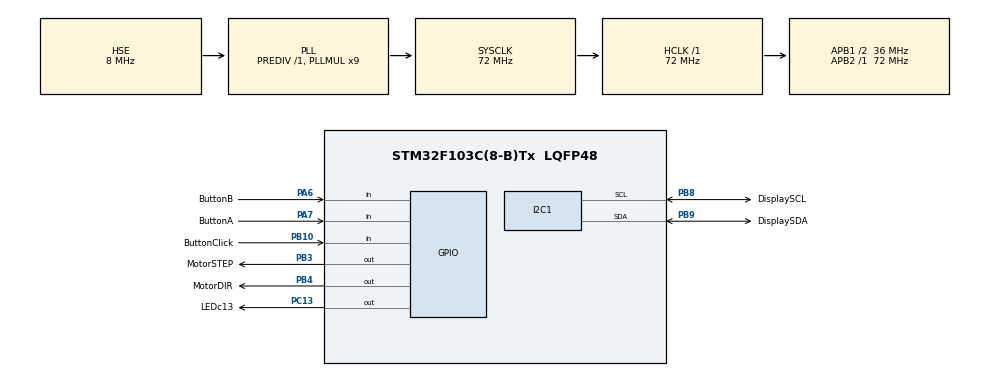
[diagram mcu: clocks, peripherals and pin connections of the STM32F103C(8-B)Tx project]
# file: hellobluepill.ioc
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Mcu.Family=STM32F1
Mcu.Name=STM32F103C(8-B)Tx
Mcu.Package=LQFP48
NVIC.PriorityGroup=NVIC_PRIORITYGROUP_4
NVIC.TIM4_IRQn=true\:0\:0\:false\:false\:true\:true\:true
PA13.Mode=Serial_Wire
PA13.Signal=SYS_JTMS-SWDIO
PA14.Mode=Serial_Wire
PA14.Signal=SYS_JTCK-SWCLK
PA6.GPIO_Label=ButtonB
PA6.Signal=GPIO_Input
PA7.GPIO_Label=ButtonA
PA7.Signal=GPIO_Input
PB10.GPIO_Label=ButtonClick
PB10.Signal=GPIO_Input
PB3.GPIO_Label=MotorSTEP
PB3.Signal=GPIO_Output
PB4.GPIO_Label=MotorDIR
PB4.Signal=GPIO_Output
PB8.GPIO_Label=DisplaySCL
PB8.GPIO_Pu=GPIO_PULLUP
PB8.Mode=I2C
PB8.Signal=I2C1_SCL
PB9.GPIO_Label=DisplaySDA
PB9.GPIO_Pu=GPIO_PULLUP
PB9.Mode=I2C
PB9.Signal=I2C1_SDA
PC13-TAMPER-RTC.GPIO_Label=LEDc13
PC13-TAMPER-RTC.Signal=GPIO_Output
PC14-OSC32_IN.Mode=LSE-External-Oscillator
PC14-OSC32_IN.Signal=RCC_OSC32_IN
PC15-OSC32_OUT.Mode=LSE-External-Oscillator
PC15-OSC32_OUT.Signal=RCC_OSC32_OUT
PD0-OSC_IN.Mode=HSE-External-Oscillator
PD0-OSC_IN.Signal=RCC_OSC_IN
PD1-OSC_OUT.Mode=HSE-External-Oscillator
PD1-OSC_OUT.Signal=RCC_OSC_OUT
ProjectManager.HeapSize=0x200
ProjectManager.StackSize=0x400
ProjectManager.TargetToolchain=Makefile
RCC.AHBFreq_Value=72000000
RCC.APB1CLKDivider=RCC_HCLK_DIV2
RCC.APB1Freq_Value=36000000
RCC.APB1TimFreq_Value=72000000
RCC.APB2Freq_Value=72000000
RCC.APB2TimFreq_Value=72000000
RCC.HCLKFreq_Value=72000000
RCC.PLLMUL=RCC_PLL_MUL9
RCC.PLLSourceVirtual=RCC_PLLSOURCE_HSE
RCC.SYSCLKFreq_VALUE=72000000
RCC.SYSCLKSource=RCC_SYSCLKSOURCE_PLLCLK
RCC.USBFreq_Value=72000000
TIM3.Period=10000
TIM3.Prescaler=71
TIM4.Period=10000
TIM4.Prescaler=7200-1
VP_TIM3_VS_ClockSourceINT.Mode=Internal
VP_TIM4_VS_ClockSourceINT.Mode=Internal
board=custom

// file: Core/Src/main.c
/* USER CODE BEGIN Header */
/**
  ******************************************************************************
  * @file           : main.c
  * @brief          : Main program body
  ******************************************************************************
  * @attention
  *
  * <h2><center>&copy; Copyright (c) 2021 STMicroelectronics.
  * All rights reserved.</center></h2>
  *
  * This software component is licensed by ST under BSD 3-Clause license,
  * the "License"; You may not use this file except in compliance with the
  * License. You may obtain a copy of the License at:
  *                        opensource.org/licenses/BSD-3-Clause
  *
  ******************************************************************************
  */
/* USER CODE END Header */
#include "main.h"

/* USER CODE BEGIN Includes */
// Button
#include "stdbool.h"

// OLED
#include "fonts.h"
#include "ssd1306.h"
/* USER CODE END Includes */

/* USER CODE BEGIN PD */

// StepperMotor
#define stepsperrev 4096
/* USER CODE END PD */

I2C_HandleTypeDef hi2c1;

TIM_HandleTypeDef htim3;
TIM_HandleTypeDef htim4;

/* USER CODE BEGIN PV */

// RotButton
GPIO_PinState aLastState;
GPIO_PinState aState;
uint32_t counter;

// StepperMotor
uint32_t iStep;
/* USER CODE END PV */

void SystemClock_Config(void);
static void MX_GPIO_Init(void);
static void MX_I2C1_Init(void);
static void MX_TIM4_Init(void);
static void MX_TIM3_Init(void);
/* USER CODE BEGIN PFP */

// StepperMotor

void HAL_TIM_PeriodElapsedCallback (TIM_HandleTypeDef * htim) // Interrupt do passo do motor
{
  HAL_GPIO_WritePin(GPIOB, MotorSTEP_Pin, 1);

/*
  static uint32_t millis = 0;
  millis++;
  if (millis % 1000 == 0) {
    HAL_GPIO_WritePin(GPIOB, MotorSTEP_Pin, 0);
  }
  */

}
/* USER CODE END PFP */

int main(void)
{
  /* USER CODE BEGIN 1 */
  uint32_t i;
  /* USER CODE END 1 */

  /* MCU Configuration--------------------------------------------------------*/

  /* Reset of all peripherals, Initializes the Flash interface and the Systick. */
  HAL_Init();

  /* Configure the system clock */
  SystemClock_Config();

  /* Initialize all configured peripherals */
  MX_GPIO_Init();
  MX_I2C1_Init();
  MX_TIM4_Init();
  MX_TIM3_Init();
  /* USER CODE BEGIN 2 */

  // Rot Button
  /*
  aLastState = HAL_GPIO_ReadPin(GPIOA,ButtonA_Pin);
  counter = 100;
  */

  // OLED

  //char snum[5];
  //SSD1306_Init ();

  /*
  SSD1306_Init (); // initialize the display
  HAL_Delay(3000);
  SSD1306_Clear();
  HAL_Delay(3000);
  SSD1306_GotoXY (10,10); // goto 10, 10
  SSD1306_Puts ("HELLO", &Font_11x18, 1); // print Hello
  SSD1306_GotoXY (10, 30);
  SSD1306_Puts ("WORLD !!", &Font_11x18, 1);
  SSD1306_UpdateScreen(); // update screen
  */

  // StepperMotor
  HAL_GPIO_WritePin(GPIOB, MotorDIR_Pin, GPIO_PIN_SET); // Sentido Horario
  //HAL_GPIO_WritePin(GPIOB, MotorDIR_Pin, GPIO_PIN_RESET); // Sentido AntiHorario
  iStep = 0;
  HAL_TIM_Base_Start_IT(&htim4);

  /* USER CODE END 2 */

  /* Infinite loop */
  /* USER CODE BEGIN WHILE */
  while (1)
  {
    // Blink LED

    for (i = 0; i < 8; i++)
    {
      HAL_GPIO_WritePin(GPIOC, LEDc13_Pin, 0);
      HAL_Delay(25);
      HAL_GPIO_WritePin(GPIOC, LEDc13_Pin, 1);
      HAL_Delay(50);
    }
    HAL_Delay(800);

    // Rot Button
    /*
	  aState = HAL_GPIO_ReadPin(GPIOA,ButtonA_Pin);
	  if (aState != aLastState){
		  if (HAL_GPIO_ReadPin(GPIOA,ButtonB_Pin) != aState) {
			  counter ++; // Sentido Horario
		  } else{
			  counter --; // Sentido Anti Horario
		  }
	  }

    aLastState = aState;

    if(counter < 10){
      counter = 10;
    }
    */

	  // OLED
    /*
	  itoa(counter, snum, 10);
	  SSD1306_Puts (snum, &Font_16x26, 1);
	  SSD1306_UpdateScreen();
	  HAL_Delay (500);
    */

	  // StepperMotor
    /*
	  for (iStep=0; iStep < stepsperrev; iStep++){
		  HAL_GPIO_WritePin(GPIOB, MotorSTEP_Pin, 1);
		  HAL_Delay(10);
		  HAL_GPIO_WritePin(GPIOB, MotorSTEP_Pin, 0);
		  HAL_Delay(10);
	  }
    */

    /* USER CODE END WHILE */

  }
}

void SystemClock_Config(void)
{
  RCC_OscInitTypeDef RCC_OscInitStruct = {0};
  RCC_ClkInitTypeDef RCC_ClkInitStruct = {0};

  /** Initializes the RCC Oscillators according to the specified parameters
  * in the RCC_OscInitTypeDef structure.
  */
  RCC_OscInitStruct.OscillatorType = RCC_OSCILLATORTYPE_HSE;
  RCC_OscInitStruct.HSEState = RCC_HSE_ON;
  RCC_OscInitStruct.HSEPredivValue = RCC_HSE_PREDIV_DIV1;
  RCC_OscInitStruct.HSIState = RCC_HSI_ON;
  RCC_OscInitStruct.PLL.PLLState = RCC_PLL_ON;
  RCC_OscInitStruct.PLL.PLLSource = RCC_PLLSOURCE_HSE;
  RCC_OscInitStruct.PLL.PLLMUL = RCC_PLL_MUL9;
  if (HAL_RCC_OscConfig(&RCC_OscInitStruct) != HAL_OK)
  {
    Error_Handler();
  }
  /** Initializes the CPU, AHB and APB buses clocks
  */
  RCC_ClkInitStruct.ClockType = RCC_CLOCKTYPE_HCLK|RCC_CLOCKTYPE_SYSCLK
                              |RCC_CLOCKTYPE_PCLK1|RCC_CLOCKTYPE_PCLK2;
  RCC_ClkInitStruct.SYSCLKSource = RCC_SYSCLKSOURCE_PLLCLK;
  RCC_ClkInitStruct.AHBCLKDivider = RCC_SYSCLK_DIV1;
  RCC_ClkInitStruct.APB1CLKDivider = RCC_HCLK_DIV2;
  RCC_ClkInitStruct.APB2CLKDivider = RCC_HCLK_DIV1;

  if (HAL_RCC_ClockConfig(&RCC_ClkInitStruct, FLASH_LATENCY_2) != HAL_OK)
  {
    Error_Handler();
  }
}

static void MX_I2C1_Init(void)
{

  hi2c1.Instance = I2C1;
  hi2c1.Init.ClockSpeed = 100000;
  hi2c1.Init.DutyCycle = I2C_DUTYCYCLE_2;
  hi2c1.Init.OwnAddress1 = 0;
  hi2c1.Init.AddressingMode = I2C_ADDRESSINGMODE_7BIT;
  hi2c1.Init.DualAddressMode = I2C_DUALADDRESS_DISABLE;
  hi2c1.Init.OwnAddress2 = 0;
  hi2c1.Init.GeneralCallMode = I2C_GENERALCALL_DISABLE;
  hi2c1.Init.NoStretchMode = I2C_NOSTRETCH_DISABLE;
  if (HAL_I2C_Init(&hi2c1) != HAL_OK)
  {
    Error_Handler();
  }

}

static void MX_TIM3_Init(void)
{

  TIM_ClockConfigTypeDef sClockSourceConfig = {0};
  TIM_MasterConfigTypeDef sMasterConfig = {0};

  htim3.Instance = TIM3;
  htim3.Init.Prescaler = 72-1;
  htim3.Init.CounterMode = TIM_COUNTERMODE_UP;
  htim3.Init.Period = 1000;
  htim3.Init.ClockDivision = TIM_CLOCKDIVISION_DIV1;
  htim3.Init.AutoReloadPreload = TIM_AUTORELOAD_PRELOAD_DISABLE;
  if (HAL_TIM_Base_Init(&htim3) != HAL_OK)
  {
    Error_Handler();
  }
  sClockSourceConfig.ClockSource = TIM_CLOCKSOURCE_INTERNAL;
  if (HAL_TIM_ConfigClockSource(&htim3, &sClockSourceConfig) != HAL_OK)
  {
    Error_Handler();
  }
  sMasterConfig.MasterOutputTrigger = TIM_TRGO_RESET;
  sMasterConfig.MasterSlaveMode = TIM_MASTERSLAVEMODE_DISABLE;
  if (HAL_TIMEx_MasterConfigSynchronization(&htim3, &sMasterConfig) != HAL_OK)
  {
    Error_Handler();
  }

}

static void MX_TIM4_Init(void)
{

  TIM_ClockConfigTypeDef sClockSourceConfig = {0};
  TIM_MasterConfigTypeDef sMasterConfig = {0};

  htim4.Instance = TIM4;
  htim4.Init.Prescaler = 7200-1;
  htim4.Init.CounterMode = TIM_COUNTERMODE_UP;
  htim4.Init.Period = 10000;
  htim4.Init.ClockDivision = TIM_CLOCKDIVISION_DIV1;
  htim4.Init.AutoReloadPreload = TIM_AUTORELOAD_PRELOAD_DISABLE;
  if (HAL_TIM_Base_Init(&htim4) != HAL_OK)
  {
    Error_Handler();
  }
  sClockSourceConfig.ClockSource = TIM_CLOCKSOURCE_INTERNAL;
  if (HAL_TIM_ConfigClockSource(&htim4, &sClockSourceConfig) != HAL_OK)
  {
    Error_Handler();
  }
  sMasterConfig.MasterOutputTrigger = TIM_TRGO_RESET;
  sMasterConfig.MasterSlaveMode = TIM_MASTERSLAVEMODE_DISABLE;
  if (HAL_TIMEx_MasterConfigSynchronization(&htim4, &sMasterConfig) != HAL_OK)
  {
    Error_Handler();
  }

}

static void MX_GPIO_Init(void)
{
  GPIO_InitTypeDef GPIO_InitStruct = {0};

  /* GPIO Ports Clock Enable */
  __HAL_RCC_GPIOC_CLK_ENABLE();
  __HAL_RCC_GPIOD_CLK_ENABLE();
  __HAL_RCC_GPIOA_CLK_ENABLE();
  __HAL_RCC_GPIOB_CLK_ENABLE();

  /*Configure GPIO pin Output Level */
  HAL_GPIO_WritePin(LEDc13_GPIO_Port, LEDc13_Pin, GPIO_PIN_RESET);

  /*Configure GPIO pin Output Level */
  HAL_GPIO_WritePin(GPIOB, MotorSTEP_Pin|MotorDIR_Pin, GPIO_PIN_RESET);

  /*Configure GPIO pin : LEDc13_Pin */
  GPIO_InitStruct.Pin = LEDc13_Pin;
  GPIO_InitStruct.Mode = GPIO_MODE_OUTPUT_PP;
  GPIO_InitStruct.Pull = GPIO_NOPULL;
  GPIO_InitStruct.Speed = GPIO_SPEED_FREQ_LOW;
  HAL_GPIO_Init(LEDc13_GPIO_Port, &GPIO_InitStruct);

  /*Configure GPIO pins : ButtonB_Pin ButtonA_Pin */
  GPIO_InitStruct.Pin = ButtonB_Pin|ButtonA_Pin;
  GPIO_InitStruct.Mode = GPIO_MODE_INPUT;
  GPIO_InitStruct.Pull = GPIO_NOPULL;
  HAL_GPIO_Init(GPIOA, &GPIO_InitStruct);

  /*Configure GPIO pin : ButtonClick_Pin */
  GPIO_InitStruct.Pin = ButtonClick_Pin;
  GPIO_InitStruct.Mode = GPIO_MODE_INPUT;
  GPIO_InitStruct.Pull = GPIO_NOPULL;
  HAL_GPIO_Init(ButtonClick_GPIO_Port, &GPIO_InitStruct);

  /*Configure GPIO pins : MotorSTEP_Pin MotorDIR_Pin */
  GPIO_InitStruct.Pin = MotorSTEP_Pin|MotorDIR_Pin;
  GPIO_InitStruct.Mode = GPIO_MODE_OUTPUT_PP;
  GPIO_InitStruct.Pull = GPIO_NOPULL;
  GPIO_InitStruct.Speed = GPIO_SPEED_FREQ_LOW;
  HAL_GPIO_Init(GPIOB, &GPIO_InitStruct);

}

void Error_Handler(void)
{
  __disable_irq();
  while (1)
  {
  }
}

/************************ (C) COPYRIGHT STMicroelectronics *****END OF FILE****/
